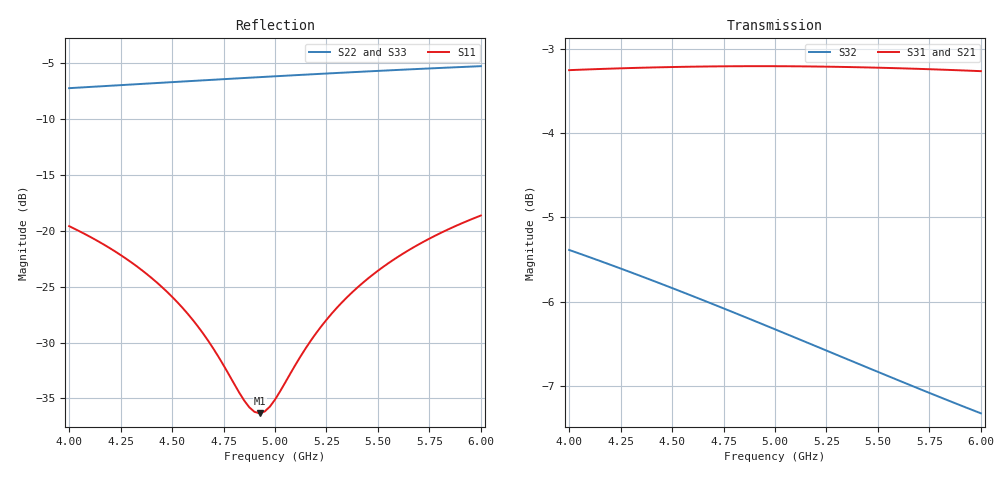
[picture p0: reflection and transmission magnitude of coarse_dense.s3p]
! yapnr rf: divider-osh-m-star, footprint re-simulated (optimization grid)
! spec sha256 5c8ff818df422873aa88d55bef2dedd6a6ce6afaf8815cf4395bdffaf75e430d
! 3 ports renormalized to 50 ohm, e^(+jwt) convention
# GHz S RI R 50
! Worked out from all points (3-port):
!   81 points, 4 GHz to 6 GHz, reference 50 ohm
!   strongest paths, dB at 4 GHz, 4.5 GHz, 5 GHz, 5.5 GHz, 6 GHz:
!     S31: -3.3, -3.2, -3.2, -3.2, -3.3
!     S21: -3.3, -3.2, -3.2, -3.2, -3.3
!     S32: -5.4, -5.8, -6.3, -6.8, -7.3
!   lowest |S11| = -36.3 dB at 4.925 GHz (marker M1), VSWR 1.03, Z = 48.5 + j0.223 ohm
!   |S11| at or under -10 dB: start of sweep to end of sweep
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4  -0.036 0.0986  -0.2254 -0.6494  -0.2254 -0.6494
   -0.2254 -0.6494  0.3198 0.295  -0.4024 -0.3569
   -0.2254 -0.6494  -0.4024 -0.3569  0.3198 0.295
4.5  -0.0157 0.0482  -0.3801 -0.5763  -0.3801 -0.5763
     -0.3802 -0.5762  0.4148 0.2057  -0.4612 -0.2193
     -0.3802 -0.5762  -0.4612 -0.2193  0.4148 0.2057
4.675  -0.0135 0.0293  -0.4293 -0.5413  -0.4293 -0.5413
       -0.4294 -0.5412  0.4424 0.1676  -0.471 -0.1707
       -0.4294 -0.5412  -0.471 -0.1707  0.4424 0.1676
4.85  -0.014 0.0103  -0.4752 -0.5019  -0.4752 -0.5019
      -0.4752 -0.5018  0.4663 0.1264  -0.4755 -0.1228
      -0.4752 -0.5018  -0.4755 -0.1228  0.4663 0.1264
4.925  -0.0151 0.0023  -0.4937 -0.4837  -0.4937 -0.4837
       -0.4937 -0.4837  0.4753 0.1079  -0.476 -0.1027
       -0.4937 -0.4837  -0.476 -0.1027  0.4753 0.1079
5  -0.0166 -0.00563  -0.5115 -0.4648  -0.5115 -0.4648
   -0.5115 -0.4648  0.4836 0.089  -0.4756 -0.0829
   -0.5115 -0.4648  -0.4756 -0.0829  0.4836 0.089
5.2  -0.0232 -0.026  -0.5551 -0.4113  -0.5551 -0.4113
     -0.5551 -0.4112  0.5018 0.0365  -0.4706 -0.0318
     -0.5551 -0.4112  -0.4706 -0.0318  0.5018 0.0365
5.4  -0.033 -0.0448  -0.5928 -0.3536  -0.5928 -0.3536
     -0.5928 -0.3535  0.514 -0.0182  -0.4605 0.0164
     -0.5928 -0.3535  -0.4605 0.0164  0.514 -0.0182
5.675  -0.0515 -0.0671  -0.6342 -0.2688  -0.6342 -0.2688
       -0.6342 -0.2687  0.5205 -0.0957  -0.4397 0.0773
       -0.6342 -0.2687  -0.4397 0.0773  0.5205 -0.0957
6  -0.0792 -0.0863  -0.6669 -0.163  -0.6669 -0.163
   -0.6669 -0.1629  0.5124 -0.188  -0.4069 0.1405
   -0.6669 -0.1629  -0.4069 0.1405  0.5124 -0.188
